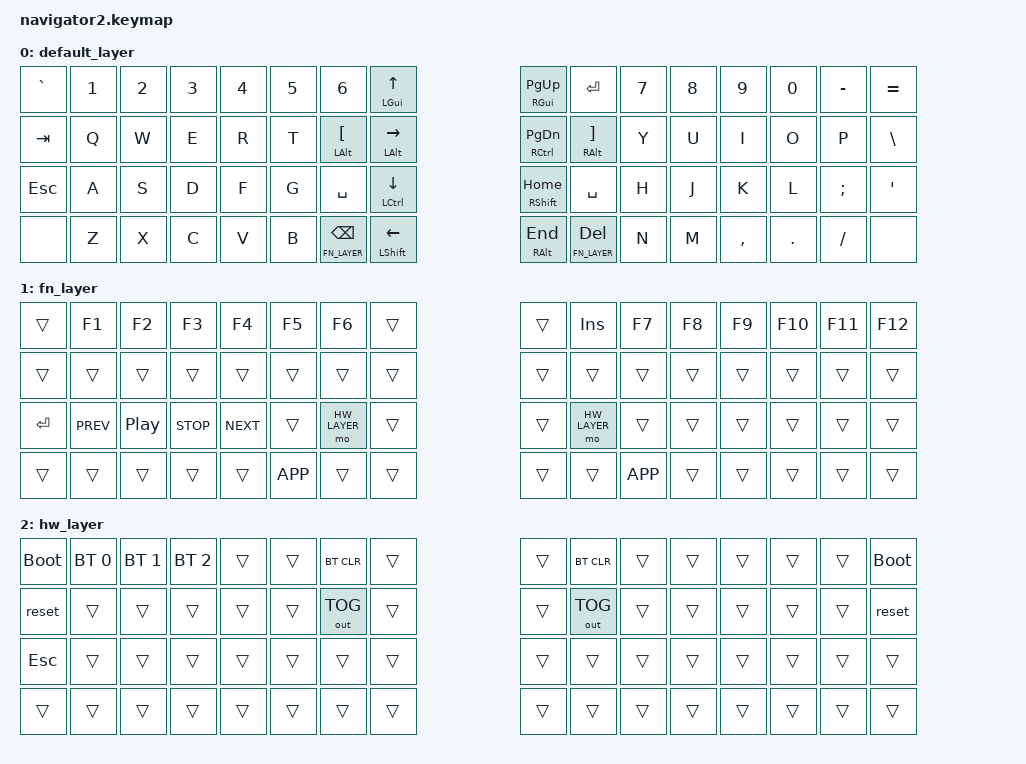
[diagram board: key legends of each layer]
#include <behaviors.dtsi>
#include <dt-bindings/zmk/keys.h>
#include <dt-bindings/zmk/bt.h>
#include <dt-bindings/zmk/outputs.h>

#define DEFAULT_LAYER 0
#define FN_LAYER 1
#define HW_LAYER 2


&lt {
    quick_tap_ms = <500>;
};

/ {
    behaviors {
        th_hold: hold_preferred_mods {
            compatible = "zmk,behavior-hold-tap";
            label = "hOLD_MODS";
            #binding-cells = <2>;
            tapping_term_ms = <200>;
            flavor = "hold-preferred";
            bindings = <&kp>, <&kp>;
            quick_tap_ms = <500>;
        };
    };

    keymap {
        compatible = "zmk,keymap";

        default_layer {
            bindings = <
    &kp GRAVE  &kp N1  &kp N2  &kp N3  &kp N4  &kp N5  &kp N6              &th_hold LGUI UP        &th_hold RGUI PG_UP   &kp ENTER           &kp N7  &kp N8  &kp N9     &kp N0   &kp MINUS  &kp EQUAL
    &kp TAB    &kp Q   &kp W   &kp E   &kp R   &kp T   &th_hold LALT LBKT  &th_hold LALT RIGHT     &th_hold RCTRL PG_DN  &th_hold RALT RBKT  &kp Y   &kp U   &kp I      &kp O    &kp P      &kp BSLH
    &kp ESC    &kp A   &kp S   &kp D   &kp F   &kp G   &kp SPACE           &th_hold LCTRL DOWN     &th_hold RSHFT HOME   &kp SPACE           &kp H   &kp J   &kp K      &kp L    &kp SEMI   &kp SQT
    &none      &kp Z   &kp X   &kp C   &kp V   &kp B   &lt FN_LAYER BSPC   &th_hold LSHFT LEFT     &th_hold RALT END     &lt FN_LAYER DEL    &kp N   &kp M   &kp COMMA  &kp DOT  &kp FSLH   &none
            >;
        };

        fn_layer {
            bindings = <
    &trans     &kp F1      &kp F2    &kp F3      &kp F4      &kp F5      &kp F6        &trans         &trans  &kp INS       &kp F7      &kp F8    &kp F9    &kp F10  &kp F11   &kp F12
    &trans     &trans      &trans    &trans      &trans      &trans      &trans        &trans         &trans  &trans        &trans      &trans    &trans    &trans   &trans    &trans
    &kp ENTER  &kp C_PREV  &kp C_PP  &kp C_STOP  &kp C_NEXT  &trans      &mo HW_LAYER  &trans         &trans  &mo HW_LAYER  &trans      &trans    &trans    &trans   &trans    &trans
    &trans     &trans      &trans    &trans      &trans      &kp K_APP   &trans        &trans         &trans  &trans        &kp K_APP   &trans    &trans    &trans   &trans    &trans
            >;
        };
    
        hw_layer {
            bindings = <
    &bootloader  &bt BT_SEL 0  &bt BT_SEL 1  &bt BT_SEL 2  &trans  &trans  &bt BT_CLR    &trans     &trans  &bt BT_CLR    &trans  &trans  &trans  &trans  &trans  &bootloader
    &reset       &trans        &trans        &trans        &trans  &trans  &out OUT_TOG  &trans     &trans  &out OUT_TOG  &trans  &trans  &trans  &trans  &trans  &reset
    &kp ESC      &trans        &trans        &trans        &trans  &trans  &trans        &trans     &trans  &trans        &trans  &trans  &trans  &trans  &trans  &trans
    &trans       &trans        &trans        &trans        &trans  &trans  &trans        &trans     &trans  &trans        &trans  &trans  &trans  &trans  &trans  &trans
            >;
        };
    };
};
